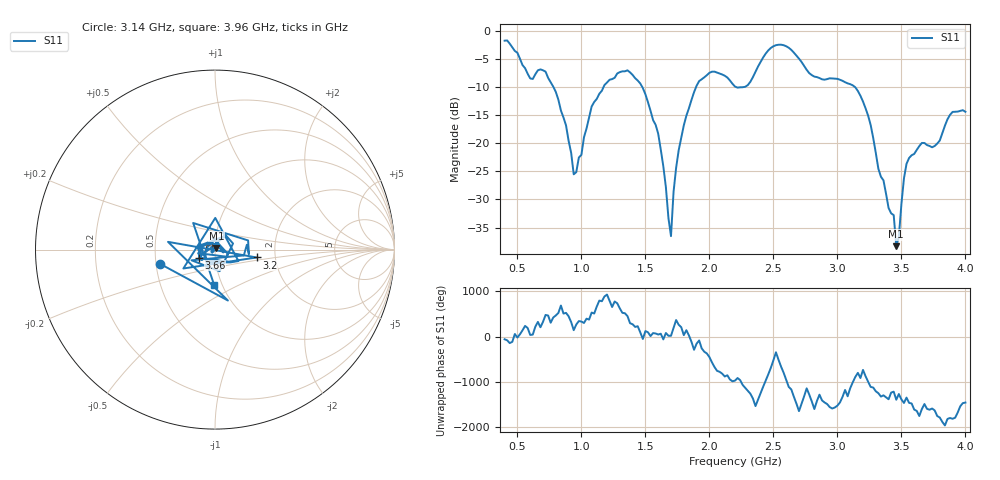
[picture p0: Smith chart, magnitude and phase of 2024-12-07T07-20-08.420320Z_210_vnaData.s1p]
!Created with skrf (http://scikit-rf.org).
# Hz S RI R 50.0
!freq ReS11 ImS11
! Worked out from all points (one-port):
!   181 points, 400 MHz to 4 GHz, reference 50 ohm
!   lowest |S11| = -38.3 dB at 3.46 GHz (marker M1), VSWR 1.02, Z = 50.7 + j0.969 ohm
!   |S11| at or under -10 dB: 782.2 MHz to 1.172 GHz (390.1 MHz wide, 39.9 % of centre); 1.476 GHz to 1.895 GHz (418.9 MHz wide, 24.8 % of centre); 3.139 GHz to end of sweep (the widest 3 of 4)
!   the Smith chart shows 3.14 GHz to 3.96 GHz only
!   S11 on the Smith chart (normalised r, x): 3.14 GHz: 0.53, -0.09; 3.2 GHz: 1.59, -0.15; 3.66 GHz: 0.83, -0.08; 3.96 GHz: 0.92, -0.37
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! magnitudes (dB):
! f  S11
! 400 MHz  -1.7
! 600 MHz  -8.4
! 720 MHz  -7.2
! 860 MHz  -15.4
! 940 MHz  -25.5
! 1.08 GHz  -13.4
! 1.3 GHz  -7.3
! 1.46 GHz  -9.3
! 1.58 GHz  -16.7
! 1.64 GHz  -24.1
! 1.7 GHz  -36.5
! 1.72 GHz  -28.6
! 1.76 GHz  -21.2
! 1.92 GHz  -8.9
! 2.2 GHz  -9.9
! 2.5 GHz  -2.7
! 2.66 GHz  -3.8
! 3.1 GHz  -9.4
! 3.14 GHz  -10.0
! 3.2 GHz  -12.6
! 3.44 GHz  -32.8
! 3.46 GHz  -38.3
! 3.52 GHz  -26.2
! 3.56 GHz  -22.6
! 3.66 GHz  -19.9
! 3.76 GHz  -20.5
! 3.96 GHz  -14.2
! 4 GHz  -14.4
